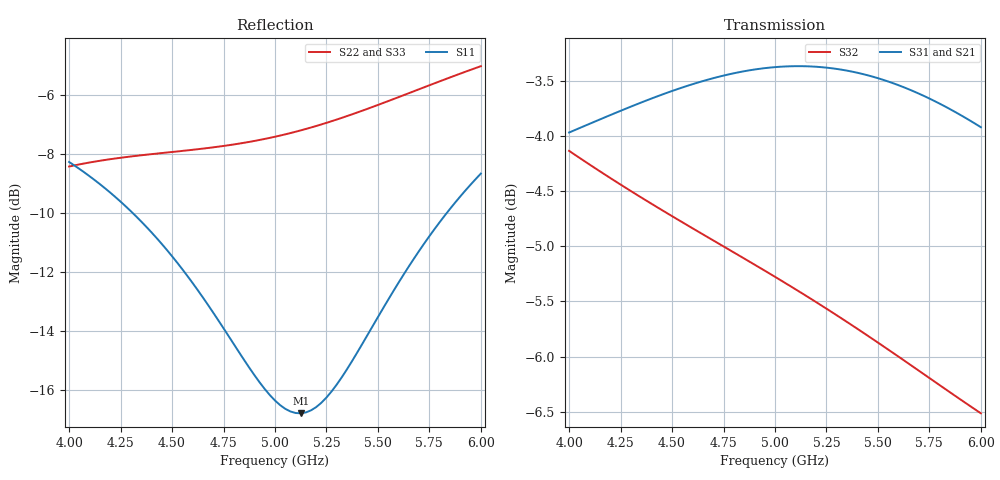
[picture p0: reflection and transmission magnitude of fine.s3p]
! yapnr rf: divider-osh-m-sched, footprint re-simulated (refine 2)
! spec sha256 bbfd3c2c71fb105c389fb3dd58c947bd2e93bc113f0c1115e98ed0f9a4913da3
! 3 ports renormalized to 50 ohm, e^(+jwt) convention
# GHz S RI R 50
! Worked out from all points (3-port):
!   81 points, 4 GHz to 6 GHz, reference 50 ohm
!   strongest paths, dB at 4 GHz, 4.5 GHz, 5 GHz, 5.5 GHz, 6 GHz:
!     S31: -4.0, -3.6, -3.4, -3.5, -3.9
!     S21: -4.0, -3.6, -3.4, -3.5, -3.9
!     S32: -4.1, -4.7, -5.3, -5.9, -6.5
!   lowest |S11| = -16.8 dB at 5.125 GHz (marker M1), VSWR 1.34, Z = 37.6 - j2.37 ohm
!   |S11| at or under -10 dB: 4.308 GHz to 5.835 GHz (1.526 GHz wide, 30.1 % of centre)
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4  -0.3514 0.1593  -0.3392 -0.5351  -0.3392 -0.5351
   -0.3391 -0.5346  -0.1054 -0.3641  -0.1954 0.5896
   -0.3391 -0.5346  -0.1954 0.5896  -0.1054 -0.3641
4.225  -0.3008 0.1507  -0.4151 -0.4959  -0.4151 -0.4959
       -0.4149 -0.4954  -0.1636 -0.3554  -0.0503 0.5996
       -0.4149 -0.4954  -0.0503 0.5996  -0.1636 -0.3554
4.475  -0.2438 0.1241  -0.4967 -0.4354  -0.4967 -0.4354
       -0.4963 -0.4348  -0.212 -0.3396  0.1016 0.5732
       -0.4963 -0.4348  0.1016 0.5732  -0.212 -0.3396
4.725  -0.1925 0.0781  -0.5699 -0.3555  -0.5699 -0.3555
       -0.5694 -0.3549  -0.2478 -0.3262  0.2364 0.5121
       -0.5694 -0.3549  0.2364 0.5121  -0.2478 -0.3262
5  -0.1518 0.00691  -0.6321 -0.2468  -0.6321 -0.2468
   -0.6314 -0.2463  -0.2815 -0.3195  0.3565 0.4118
   -0.6314 -0.2463  0.3565 0.4118  -0.2815 -0.3195
5.125  -0.1412 -0.0309  -0.6517 -0.1917  -0.6517 -0.1917
       -0.6509 -0.1912  -0.2978 -0.3193  0.3992 0.3575
       -0.6509 -0.1912  0.3992 0.3575  -0.2978 -0.3193
5.275  -0.1364 -0.0788  -0.6667 -0.1227  -0.6667 -0.1227
       -0.6658 -0.1223  -0.3197 -0.3203  0.4395 0.2873
       -0.6658 -0.1223  0.4395 0.2873  -0.3197 -0.3203
5.55  -0.1511 -0.1672  -0.6686 0.00571  -0.6686 0.00571
      -0.6676 0.00592  -0.3696 -0.321  0.4815 0.1521
      -0.6676 0.00592  0.4815 0.1521  -0.3696 -0.321
5.775  -0.1844 -0.2327  -0.6467 0.1053  -0.6467 0.1053
       -0.6457 0.1054  -0.4199 -0.3147  0.4864 0.043
       -0.6457 0.1054  0.4864 0.043  -0.4199 -0.3147
6  -0.2328 -0.286  -0.6074 0.1942  -0.6074 0.1942
   -0.6063 0.1941  -0.4761 -0.2968  0.4689 -0.0579
   -0.6063 0.1941  0.4689 -0.0579  -0.4761 -0.2968
